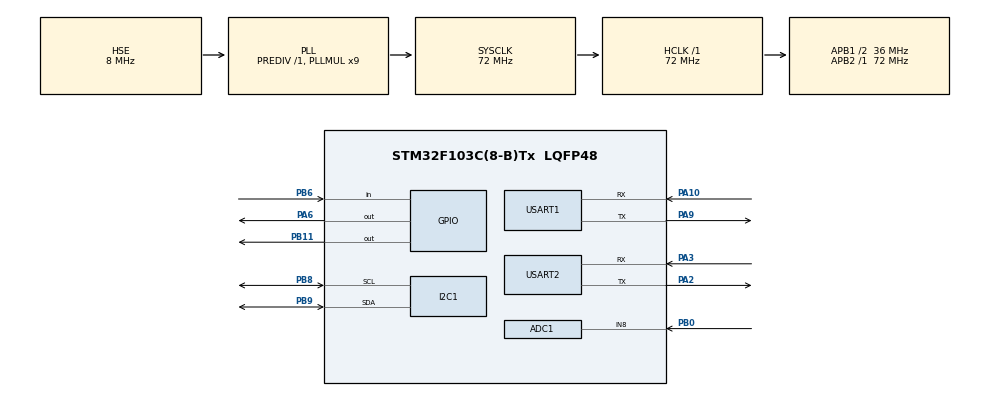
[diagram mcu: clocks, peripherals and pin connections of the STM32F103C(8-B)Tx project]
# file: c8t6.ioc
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ADC1.Channel-0\#ChannelRegularConversion=ADC_CHANNEL_8
ADC1.NbrOfConversionFlag=1
ADC1.Rank-0\#ChannelRegularConversion=1
ADC1.SamplingTime-0\#ChannelRegularConversion=ADC_SAMPLETIME_1CYCLE_5
ADC1.master=1
Dma.Request0=USART2_RX
Dma.USART2_RX.0.Direction=DMA_PERIPH_TO_MEMORY
Dma.USART2_RX.0.Instance=DMA1_Channel6
Dma.USART2_RX.0.MemDataAlignment=DMA_MDATAALIGN_BYTE
Dma.USART2_RX.0.MemInc=DMA_MINC_ENABLE
Dma.USART2_RX.0.Mode=DMA_NORMAL
Dma.USART2_RX.0.PeriphDataAlignment=DMA_PDATAALIGN_BYTE
Dma.USART2_RX.0.PeriphInc=DMA_PINC_DISABLE
Dma.USART2_RX.0.Priority=DMA_PRIORITY_LOW
Mcu.Family=STM32F1
Mcu.Name=STM32F103C(8-B)Tx
Mcu.Package=LQFP48
NVIC.DMA1_Channel6_IRQn=true\:0\:0\:false\:false\:true\:false\:true\:true
NVIC.PriorityGroup=NVIC_PRIORITYGROUP_4
NVIC.USART2_IRQn=true\:0\:0\:false\:false\:true\:true\:true\:true
PA10.Mode=Asynchronous
PA10.Signal=USART1_RX
PA13.Mode=Serial_Wire
PA13.Signal=SYS_JTMS-SWDIO
PA14.Mode=Serial_Wire
PA14.Signal=SYS_JTCK-SWCLK
PA2.Mode=Asynchronous
PA2.Signal=USART2_TX
PA3.Mode=Asynchronous
PA3.Signal=USART2_RX
PA6.Signal=GPIO_Output
PA9.Mode=Asynchronous
PA9.Signal=USART1_TX
PB0.Signal=ADCx_IN8
PB11.PinState=GPIO_PIN_SET
PB11.Signal=GPIO_Output
PB6.Signal=GPIO_Input
PB8.Mode=I2C
PB8.Signal=I2C1_SCL
PB9.Mode=I2C
PB9.Signal=I2C1_SDA
PD0-OSC_IN.Mode=HSE-External-Oscillator
PD0-OSC_IN.Signal=RCC_OSC_IN
PD1-OSC_OUT.Mode=HSE-External-Oscillator
PD1-OSC_OUT.Signal=RCC_OSC_OUT
ProjectManager.HeapSize=0x200
ProjectManager.StackSize=0x400
ProjectManager.TargetToolchain=MDK-ARM V5.27
RCC.ADCPresc=RCC_ADCPCLK2_DIV6
RCC.AHBFreq_Value=72000000
RCC.APB1CLKDivider=RCC_HCLK_DIV2
RCC.APB1Freq_Value=36000000
RCC.APB1TimFreq_Value=72000000
RCC.APB2Freq_Value=72000000
RCC.APB2TimFreq_Value=72000000
RCC.HCLKFreq_Value=72000000
RCC.PLLMUL=RCC_PLL_MUL9
RCC.PLLSourceVirtual=RCC_PLLSOURCE_HSE
RCC.SYSCLKFreq_VALUE=72000000
RCC.SYSCLKSource=RCC_SYSCLKSOURCE_PLLCLK
RCC.USBFreq_Value=72000000
SH.ADCx_IN8.0=ADC1_IN8,IN8
USART1.VirtualMode=VM_ASYNC
USART2.VirtualMode=VM_ASYNC
VP_IWDG_VS_IWDG.Mode=IWDG_Activate
board=custom

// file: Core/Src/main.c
/* USER CODE BEGIN Header */
/**
  ******************************************************************************
  * @file           : main.c
  * @brief          : Main program body
  ******************************************************************************
  * @attention
  *
  * <h2><center>&copy; Copyright (c) 2023 STMicroelectronics.
  * All rights reserved.</center></h2>
  *
  * This software component is licensed by ST under BSD 3-Clause license,
  * the "License"; You may not use this file except in compliance with the
  * License. You may obtain a copy of the License at:
  *                        opensource.org/licenses/BSD-3-Clause
  *
  ******************************************************************************
  */
/* USER CODE END Header */
#include "main.h"
#include "adc.h"
#include "dma.h"
#include "i2c.h"
#include "iwdg.h"
#include "usart.h"
#include "gpio.h"

/* USER CODE BEGIN Includes */
#include "stdio.h"
#include "dht11.h"
#include "wifi.h"
#include "onenet.h"
#include "oled.h"
#include "string.h"
/* USER CODE END Includes */

/* USER CODE BEGIN PD */
#define GPIO_Pin_PB6 GPIO_PIN_6
#define GPIO_Port_PB6 GPIOB
/* USER CODE END PD */

void SystemClock_Config(void);

/* USER CODE BEGIN 0 */
float temperature;               //温度
float humidity;                  //湿度

GPIO_PinState pinState;            //有人
uint32_t Gas;
uint8_t TH_Gas;
uint8_t TH_Tem;
uint8_t TH_Hum;
uint8_t net_connect = 0;
char date_show_buff[128];
char buf1[40];
char buf2[40];
/* USER CODE END 0 */

int main(void)
{
  /* USER CODE BEGIN 1 */
    uint16_t timeCount;
    unsigned char *dataPtr = NULL;
  /* USER CODE END 1 */

  /* MCU Configuration--------------------------------------------------------*/

  /* Reset of all peripherals, Initializes the Flash interface and the Systick. */
  HAL_Init();

  /* Configure the system clock */
  SystemClock_Config();

  /* Initialize all configured peripherals */
  MX_GPIO_Init();
  MX_DMA_Init();
  MX_ADC1_Init();
  MX_USART1_UART_Init();
  MX_USART2_UART_Init();
  MX_I2C1_Init();
//  MX_IWDG_Init();
  /* USER CODE BEGIN 2 */
//  HAL_IWDG_Refresh(&hiwdg);
	OLED_Init();
	show();
	TH_Gas = 20;
	TH_Tem = 40;
	TH_Hum = 60;
  /* USER CODE END 2 */

  /* Infinite loop */
  /* USER CODE BEGIN WHILE */

  while (1)
  {
		  if(net_connect == 1)   // 连接成功
			{

					if(timeCount%50 == 0)
					{
							//烟雾传感器
							HAL_ADC_Start(&hadc1);  // 启动ADC1转换
							HAL_ADC_PollForConversion(&hadc1, HAL_MAX_DELAY);  // 等待转换完成
							uint32_t adcValue = HAL_ADC_GetValue(&hadc1);  // 读取ADC值
							uint32_t n;
							float percentage;
							percentage=(float)(adcValue/10)*(3.3/4096); //mq135
							if(percentage<0.9)
							{
									n=percentage/0.001;
									Gas = n*0.012;
							}
							else
							{
									Gas = ((percentage-0.9)/0.1)*100;
									Gas =Gas+9;
							}
							memset(date_show_buff,0,sizeof(date_show_buff));
							sprintf(date_show_buff,":%d%%",Gas);
							OLED_ShowString(64,2,(uint8_t*)date_show_buff,16);

//===============================温湿度传感器==========================================================
							if(DHT11(&temperature,&humidity)==0)
							{
									memset(date_show_buff,0,sizeof(date_show_buff));
									sprintf(date_show_buff,":%.0f",temperature);
									OLED_ShowString(32,0,(uint8_t*)date_show_buff,16);

									memset(date_show_buff,0,sizeof(date_show_buff));
									sprintf(date_show_buff,":%.0f",humidity);
									OLED_ShowString(96,0,(uint8_t*)date_show_buff,16);
							}
//=================================人体传感器====================================
							// 读取PB6引脚的状态
							pinState = HAL_GPIO_ReadPin(GPIO_Port_PB6, GPIO_Pin_PB6);

							// 根据引脚状态执行相应的操作
							if (pinState == GPIO_PIN_SET)
							{
									OLED_ShowCHinese(72,4,35);
									OLED_ShowCHinese(88,4,36);
							}
							else
							{
									OLED_ShowCHinese(72,4,37);
									OLED_ShowCHinese(88,4,36);
							}
// ===================================阈值控制================================================

							if(Gas>TH_Gas||temperature>TH_Tem||humidity>TH_Hum)
							{
									HAL_GPIO_WritePin(GPIOB,GPIO_PIN_11,GPIO_PIN_RESET);
							}
							else{
									HAL_GPIO_WritePin(GPIOB,GPIO_PIN_11,GPIO_PIN_SET);
							}

					}
					if(++timeCount >= 101)		//时间间隔5s 发送
					{
							HAL_Delay(70);
							printf( "开始发送数据\r\n");//通过串口1发送提示信息（要开始发送数据了）
							OneNet_SendData();//发送数据给onenet
							printf("发送数据结束\n");
							timeCount = 0;
							ESP8266_Clear();
					}
//            ESP8266_GetIPD(0);//获取平台返回的数据
					dataPtr = ESP8266_GetIPD(0);//获取平台返回的数据
					if(dataPtr != NULL)//如果返回数据不为空
							OneNet_RevPro(dataPtr);//平台返回数据检测

					HAL_Delay(40);
			}

    /* USER CODE END WHILE */

    /* USER CODE BEGIN 3 */
	 else
        {
            printf("开始连接服务器\r\n");
            ESP8266_Init();					//初始化ESP8266

            printf("8266初始化成功\n");

            while(OneNet_DevLink())			//接入OneNET

            HAL_Delay(500);
            net_connect = 1;

            printf("接入onenet成功");
        }
  }
  /* USER CODE END 3 */
}

void SystemClock_Config(void)
{
  RCC_OscInitTypeDef RCC_OscInitStruct = {0};
  RCC_ClkInitTypeDef RCC_ClkInitStruct = {0};
  RCC_PeriphCLKInitTypeDef PeriphClkInit = {0};

  /** Initializes the RCC Oscillators according to the specified parameters
  * in the RCC_OscInitTypeDef structure.
  */
  RCC_OscInitStruct.OscillatorType = RCC_OSCILLATORTYPE_LSI|RCC_OSCILLATORTYPE_HSE;
  RCC_OscInitStruct.HSEState = RCC_HSE_ON;
  RCC_OscInitStruct.HSEPredivValue = RCC_HSE_PREDIV_DIV1;
  RCC_OscInitStruct.HSIState = RCC_HSI_ON;
  RCC_OscInitStruct.LSIState = RCC_LSI_ON;
  RCC_OscInitStruct.PLL.PLLState = RCC_PLL_ON;
  RCC_OscInitStruct.PLL.PLLSource = RCC_PLLSOURCE_HSE;
  RCC_OscInitStruct.PLL.PLLMUL = RCC_PLL_MUL9;
  if (HAL_RCC_OscConfig(&RCC_OscInitStruct) != HAL_OK)
  {
    Error_Handler();
  }

  /** Initializes the CPU, AHB and APB buses clocks
  */
  RCC_ClkInitStruct.ClockType = RCC_CLOCKTYPE_HCLK|RCC_CLOCKTYPE_SYSCLK
                              |RCC_CLOCKTYPE_PCLK1|RCC_CLOCKTYPE_PCLK2;
  RCC_ClkInitStruct.SYSCLKSource = RCC_SYSCLKSOURCE_PLLCLK;
  RCC_ClkInitStruct.AHBCLKDivider = RCC_SYSCLK_DIV1;
  RCC_ClkInitStruct.APB1CLKDivider = RCC_HCLK_DIV2;
  RCC_ClkInitStruct.APB2CLKDivider = RCC_HCLK_DIV1;

  if (HAL_RCC_ClockConfig(&RCC_ClkInitStruct, FLASH_LATENCY_2) != HAL_OK)
  {
    Error_Handler();
  }
  PeriphClkInit.PeriphClockSelection = RCC_PERIPHCLK_ADC;
  PeriphClkInit.AdcClockSelection = RCC_ADCPCLK2_DIV6;
  if (HAL_RCCEx_PeriphCLKConfig(&PeriphClkInit) != HAL_OK)
  {
    Error_Handler();
  }
}

void Error_Handler(void)
{
}
